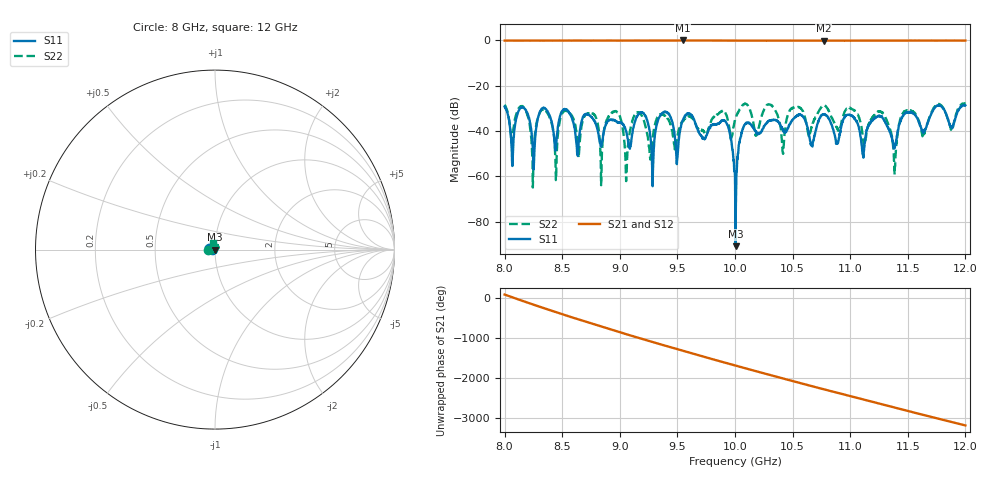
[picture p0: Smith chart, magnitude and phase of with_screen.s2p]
!Agilent Technologies,E8362C,MY49020356,A.09.42.23
!Agilent E8362C: A.09.42.23
!Date: Monday, May 29, 2023 19:48:12
!Correction: S11(Full 2 Port(1,2))
!S21(Full 2 Port(1,2))
!S12(Full 2 Port(1,2))
!S22(Full 2 Port(1,2))
!S2P File: Measurements: S11, S21, S12, S22:
# Hz S  RI  R 50
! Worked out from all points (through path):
!   1601 points, 8 GHz to 12 GHz, reference 50 ohm
!   highest |S21| = -0.02 dB at 9.545 GHz (marker M1); lowest = -0.1 dB at 10.77 GHz (marker M2)
!   lowest |S11| = -90.8 dB at 10.01 GHz (marker M3), VSWR 1.00, Z = 50 - j0.00287 ohm
!   |S11| at or under -10 dB: start of sweep to end of sweep
!   |S22| runs from -64.9 to -27.9 dB; largest |S21 - S12| = 0.0051
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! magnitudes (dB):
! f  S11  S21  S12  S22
! 8 GHz  -29.2  -0.1  -0.1  -28.4
! 8.245 GHz  -47.9  -0.1  -0.1  -64.9
! 8.332 GHz  -29.8  -0.1  -0.1  -30.3
! 8.443 GHz  -48.5  -0.1  -0.1  -55.2
! 8.518 GHz  -30.4  -0.1  -0.1  -31.1
! 8.668 GHz  -35.9  -0.1  -0.1  -37.9
! 8.84 GHz  -46.7  -0.1  -0.1  -60.0
! 8.97 GHz  -35.8  -0.1  -0.1  -31.3
! 9.057 GHz  -40.5  -0.1  -0.1  -59.1
! 9.137 GHz  -34.9  -0.1  -0.1  -32.3
! 9.265 GHz  -42.3  -0.1  -0.1  -52.6
! 9.335 GHz  -34.7  -0.1  -0.1  -33.3
! 9.545 GHz  -35.4  0.0  0.0  -35.8
! 9.912 GHz  -35.5  -0.1  -0.1  -31.8
! 10 GHz  -59.9  -0.1  -0.1  -35.3
! 10.01 GHz  -90.8  -0.1  -0.1  -34.4
! 10.1 GHz  -36.3  -0.1  -0.1  -28.2
! 10.67 GHz  -46.2  -0.1  -0.1  -37.5
! 10.77 GHz  -32.6  -0.1  -0.1  -28.8
! 11.34 GHz  -39.2  -0.1  -0.1  -37.6
! 11.39 GHz  -47.4  -0.1  -0.1  -55.9
! 12 GHz  -28.6  -0.1  -0.1  -27.9
